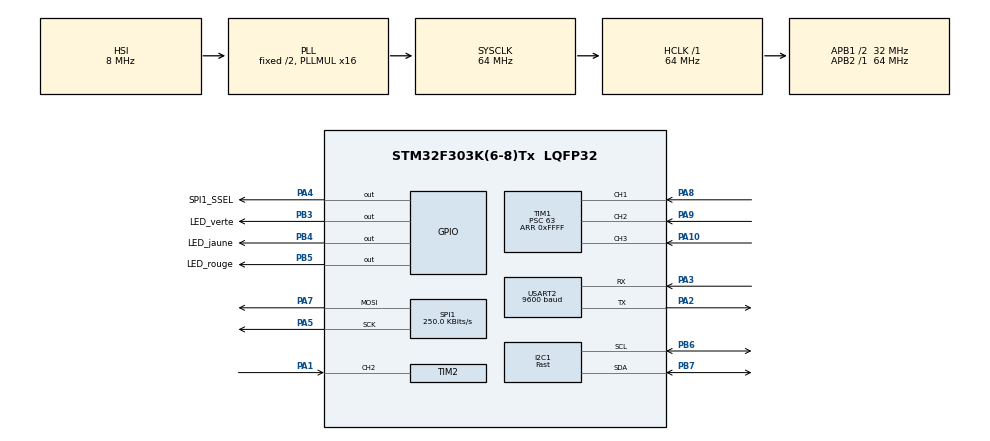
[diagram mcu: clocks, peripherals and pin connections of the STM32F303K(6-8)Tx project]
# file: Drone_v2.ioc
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I2C1.I2C_Speed_Mode=I2C_Fast
I2C1.Timing=0x0000020B
Mcu.Family=STM32F3
Mcu.Name=STM32F303K(6-8)Tx
Mcu.Package=LQFP32
NVIC.I2C1_ER_IRQn=true\:3\:0\:true\:false\:true\:true\:true
NVIC.I2C1_EV_IRQn=true\:2\:0\:true\:false\:true\:true\:true
NVIC.PriorityGroup=NVIC_PRIORITYGROUP_4
NVIC.TIM1_CC_IRQn=true\:0\:0\:false\:false\:true\:true\:true
NVIC.TIM2_IRQn=true\:1\:0\:true\:false\:true\:true\:true
NVIC.USART2_IRQn=true\:0\:0\:false\:false\:true\:true\:true
PA1.Signal=S_TIM2_CH2
PA10.Signal=S_TIM1_CH3
PA2.Mode=Asynchronous
PA2.Signal=USART2_TX
PA3.Mode=Asynchronous
PA3.Signal=USART2_RX
PA4.GPIO_Label=SPI1_SSEL
PA4.Signal=GPIO_Output
PA5.Mode=TX_Only_Simplex_Unidirect_Master
PA5.Signal=SPI1_SCK
PA7.Mode=TX_Only_Simplex_Unidirect_Master
PA7.Signal=SPI1_MOSI
PA8.Signal=S_TIM1_CH1
PA9.Signal=S_TIM1_CH2
PB3.GPIO_Label=LED_verte
PB3.Signal=GPIO_Output
PB4.GPIO_Label=LED_jaune
PB4.Signal=GPIO_Output
PB5.GPIO_Label=LED_rouge
PB5.Signal=GPIO_Output
PB6.GPIO_FM6=__NULL
PB6.Mode=I2C
PB6.Signal=I2C1_SCL
PB7.GPIO_FM7=__NULL
PB7.Mode=I2C
PB7.Signal=I2C1_SDA
ProjectManager.HeapSize=0x200
ProjectManager.StackSize=0x400
ProjectManager.TargetToolchain=MDK-ARM V5
RCC.AHBFreq_Value=64000000
RCC.APB1CLKDivider=RCC_HCLK_DIV2
RCC.APB1Freq_Value=32000000
RCC.APB1TimFreq_Value=64000000
RCC.APB2Freq_Value=64000000
RCC.APB2TimFreq_Value=64000000
RCC.CortexFreq_Value=64000000
RCC.HCLKFreq_Value=64000000
RCC.HSE_VALUE=8000000
RCC.HSI_VALUE=8000000
RCC.PLLMUL=RCC_PLL_MUL16
RCC.SYSCLKFreq_VALUE=64000000
RCC.SYSCLKSourceVirtual=RCC_SYSCLKSOURCE_PLLCLK
SH.S_TIM1_CH1.0=TIM1_CH1,Input_Capture1_from_TI1
SH.S_TIM1_CH2.0=TIM1_CH2,Input_Capture2_from_TI2
SH.S_TIM1_CH3.0=TIM1_CH3,Input_Capture3_from_TI3
SH.S_TIM2_CH2.0=TIM2_CH2,Input_Capture2_from_TI2
SPI1.BaudRatePrescaler=SPI_BAUDRATEPRESCALER_256
SPI1.CLKPhase=SPI_PHASE_2EDGE
SPI1.CalculateBaudRate=250.0 KBits/s
SPI1.DataSize=SPI_DATASIZE_8BIT
SPI1.Direction=SPI_DIRECTION_2LINES
SPI1.Mode=SPI_MODE_MASTER
SPI1.VirtualType=VM_MASTER
TIM1.Channel-Input_Capture1_from_TI1=TIM_CHANNEL_1
TIM1.Channel-Input_Capture2_from_TI2=TIM_CHANNEL_2
TIM1.Channel-Input_Capture3_from_TI3=TIM_CHANNEL_3
TIM1.ICPolarity_CH1=TIM_INPUTCHANNELPOLARITY_BOTHEDGE
TIM1.ICPolarity_CH2=TIM_INPUTCHANNELPOLARITY_BOTHEDGE
TIM1.ICPolarity_CH3=TIM_INPUTCHANNELPOLARITY_BOTHEDGE
TIM1.Period=0xFFFF
TIM1.Prescaler=63
TIM2.Channel-Input_Capture2_from_TI2=TIM_CHANNEL_2
TIM2.ICPolarity_CH2=TIM_INPUTCHANNELPOLARITY_BOTHEDGE
TIM2.Period=0xFFFF
TIM2.Prescaler=63
USART2.BaudRate=9600
USART2.VirtualMode-Asynchronous=VM_ASYNC
board=NUCLEO-F303K8

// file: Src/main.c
/* USER CODE BEGIN Header */
/**
  ******************************************************************************
  * @file           : main.c
  * @brief          : Main program body
  ******************************************************************************
  * @attention
  *
  * <h2><center>&copy; Copyright (c) 2020 STMicroelectronics.
  * All rights reserved.</center></h2>
  *
  * This software component is licensed by ST under BSD 3-Clause license,
  * the "License"; You may not use this file except in compliance with the
  * License. You may obtain a copy of the License at:
  *                        opensource.org/licenses/BSD-3-Clause
  *
  ******************************************************************************
  */
/* USER CODE END Header */

#include "main.h"

/* USER CODE BEGIN Includes */
#include "mpu6050.h"
#include "motor_control.h"
#include "pid_controller.h"

/* USER CODE END Includes */

I2C_HandleTypeDef hi2c1;

SPI_HandleTypeDef hspi1;

TIM_HandleTypeDef htim1;
TIM_HandleTypeDef htim2;

UART_HandleTypeDef huart2;

/* USER CODE BEGIN PV */
int _status = 2; //Par défaut : FlySky télécommande non détectée
TM_MPU6050_t MPU6050;
struct Input_captures{
	int32_t capt1[6];
	int32_t capt2[6];
	int is_First_Captured[6];
}values;

struct Remote{
	int32_t roll;
	int32_t pitch;
	int32_t throttle;
	int32_t yaw;
}cmd;

/* USER CODE END PV */

void SystemClock_Config(void);
static void MX_GPIO_Init(void);
static void MX_I2C1_Init(void);
static void MX_SPI1_Init(void);
static void MX_TIM1_Init(void);
static void MX_TIM2_Init(void);
static void MX_USART2_UART_Init(void);
/* USER CODE BEGIN PFP */
#ifdef __GNUC__
	#define PUTCHAR_PROTOTYPE int __io_putchar(int ch)
#else
	#define PUTCHAR_PROTOTYPE int fputc(int ch,FILE *f)
#endif

/* USER CODE END PFP */
PUTCHAR_PROTOTYPE{

	HAL_UART_Transmit(&huart2,(uint8_t *) &ch,1,0xFFFF);

	return ch;

}
/* USER CODE BEGIN 0 */

void HAL_TIM_IC_CaptureCallback(TIM_HandleTypeDef *htim){

	if(htim->Instance == TIM1){
		if(htim->Channel == HAL_TIM_ACTIVE_CHANNEL_1){
			if (values.is_First_Captured[0] == 0){
				values.capt1[0] = HAL_TIM_ReadCapturedValue(htim, TIM_CHANNEL_1);
				values.is_First_Captured[0] = 1;
			}
			else if (values.is_First_Captured[0]){
				values.capt2[0] = HAL_TIM_ReadCapturedValue(htim, TIM_CHANNEL_1);
				cmd.throttle = values.capt2[0] - values.capt1[0];

				if (cmd.throttle < 0){
					cmd.throttle += 0xFFFF;
				}
				values.is_First_Captured[0] = 0;
			}
		}
		else if(htim->Channel == HAL_TIM_ACTIVE_CHANNEL_2){
			if (values.is_First_Captured[1] == 0){
				values.capt1[1] = HAL_TIM_ReadCapturedValue(htim, TIM_CHANNEL_2);
				values.is_First_Captured[1] = 1;
			}
			else if (values.is_First_Captured[1]){
				values.capt2[1] = HAL_TIM_ReadCapturedValue(htim, TIM_CHANNEL_2);
				cmd.roll = values.capt2[1] - values.capt1[1];

				if (cmd.roll < 0){
					cmd.roll += 0xFFFF;
				}
				values.is_First_Captured[1] = 0;
			}
		}
		else if(htim->Channel == HAL_TIM_ACTIVE_CHANNEL_3){
			if (values.is_First_Captured[2] == 0){
				values.capt1[2] = HAL_TIM_ReadCapturedValue(htim, TIM_CHANNEL_3);
				values.is_First_Captured[2] = 1;
			}
			else if (values.is_First_Captured[2]){
				values.capt2[2] = HAL_TIM_ReadCapturedValue(htim, TIM_CHANNEL_3);
				cmd.pitch = values.capt2[2] - values.capt1[2];

				if (cmd.pitch < 0){
					cmd.pitch += 0xFFFF;
				}
				values.is_First_Captured[2] = 0;
			}
		}
	}
	else if(htim->Instance == TIM2){
		if(htim->Channel == HAL_TIM_ACTIVE_CHANNEL_2){
			if (values.is_First_Captured[3] == 0){
				values.capt1[3] = HAL_TIM_ReadCapturedValue(htim, TIM_CHANNEL_2);
				values.is_First_Captured[3] = 1;
			}
			else if (values.is_First_Captured[3]){
				values.capt2[3] = HAL_TIM_ReadCapturedValue(htim, TIM_CHANNEL_2);
				cmd.yaw = values.capt2[3] - values.capt1[3];

				if (cmd.yaw < 0){
					cmd.yaw += 0xFFFF;
				}
				values.is_First_Captured[3] = 0;
			}
		}
	}

}

void toggle_led(int id){

	switch (id){
		case 0://LED rouge
			HAL_GPIO_TogglePin(GPIOB, LED_rouge_Pin);

			HAL_GPIO_WritePin(GPIOB, LED_jaune_Pin, GPIO_PIN_RESET);
			HAL_GPIO_WritePin(GPIOB, LED_verte_Pin, GPIO_PIN_RESET);
			break;
  	case 1://LED jaune
			HAL_GPIO_WritePin(GPIOB, LED_jaune_Pin,GPIO_PIN_SET); //Initialisation du Drone

			HAL_GPIO_WritePin(GPIOB, LED_rouge_Pin, GPIO_PIN_RESET);
			HAL_GPIO_WritePin(GPIOB, LED_verte_Pin, GPIO_PIN_RESET);
			break;
		case 2://LED verte
			HAL_GPIO_WritePin(GPIOB, LED_verte_Pin, GPIO_PIN_SET); //Prêt au décolage

			HAL_GPIO_WritePin(GPIOB, LED_jaune_Pin, GPIO_PIN_RESET);
			HAL_GPIO_WritePin(GPIOB, LED_rouge_Pin, GPIO_PIN_RESET);
			break;
		default:
			break;
	}

}

/* USER CODE END 0 */

int main(void)
{

  /* MCU Configuration--------------------------------------------------------*/

  /* Reset of all peripherals, Initializes the Flash interface and the Systick. */
  HAL_Init();

  /* Configure the system clock */
  SystemClock_Config();

  /* Initialize all configured peripherals */
  MX_GPIO_Init();
  MX_I2C1_Init();
  MX_SPI1_Init();
  MX_TIM1_Init();
  MX_TIM2_Init();
  MX_USART2_UART_Init();
  /* USER CODE BEGIN 2 */

	toggle_led(1); //Set Led jaune pendant l'initialisation

	//Setup the registers of the MPU-6050 (500dfs / +/-8g) and start the gyro
	if(MPU6050_Init(&MPU6050, TM_MPU6050_Device_0) != TM_MPU6050_Result_Ok){
		_status = 1; //MPU-6050 non détectée
		Error_Handler();
	}
	//Calibration of the MPU-6050
	if(MPU6050_Calibrate(&MPU6050, TM_MPU6050_Device_0) != TM_MPU6050_Result_Ok){
		_status = 1; //MPU-6050 non détectée
		Error_Handler();
	}

//	//Activate Remote control captures
//	HAL_TIM_IC_Start_IT(&htim1,TIM_CHANNEL_1); //PA8  --> CH3 receiver [throttle]
//	HAL_TIM_IC_Start_IT(&htim1,TIM_CHANNEL_2); //PA9  --> CH1 receiver [roll]
//	HAL_TIM_IC_Start_IT(&htim1,TIM_CHANNEL_3); //PA10 --> CH2 receiver [pitch]
//	HAL_TIM_IC_Start_IT(&htim2,TIM_CHANNEL_2); //PA1  --> CH4 receiver [yaw]
//
//	HAL_Delay(2000); //Wait until the receiver is active

//  if(cmd.pitch < 990 || cmd.roll < 990 || cmd.throttle < 990 || cmd.yaw < 990)  {
//		_status = 2; //FlySky télécommande non détectée
//		Error_Handler();
//  }
//  if(cmd.pitch > 1990 || cmd.roll > 1990 || cmd.throttle > 1990 || cmd.yaw > 1990)  {
//		_status = 2; //FlySky télécommande non détectée
//		Error_Handler();
//  }
//
//	//Wait until the throttle is set to the lower position.
//	if(cmd.throttle < 990 || cmd.throttle > 1050)  {
//		_status = 3; //Throttle n'est pas dans la position la plus basse
//		Error_Handler();
//	}

	//Initialize SPI communication
	HAL_GPIO_WritePin(SPI1_SSEL_GPIO_Port, SPI1_SSEL_Pin, GPIO_PIN_SET);

	_status = 0; //L'initialisation des périphériques a été excécutée

	toggle_led(2); //Set Led verte à la fin de l'initialisation

  /* USER CODE END 2 */

  /* Infinite loop */
  /* USER CODE BEGIN WHILE */
  while (1)
  {
		//Read and Convert all the data from the MPU6050
		if(MPU6050_ReadConvert_Pitch_Roll(&MPU6050, TM_MPU6050_Device_0) != TM_MPU6050_Result_Ok){
			_status = 1; //MPU-6050 non détectée
			run_moteurs(5); //Stop ALL motors
			Error_Handler();
		}

// Commandes moteurs en Boucle ouverte
//		check_motor_vibrations(4);

// Commandes moteurs en Boucle fermée (PID)
//		init_pid();
//		calculate_pid();//PID inputs are known. So we can calculate the pid output.
//		cmd_motors();

    /* USER CODE END WHILE */

  }
}

void SystemClock_Config(void)
{
  RCC_OscInitTypeDef RCC_OscInitStruct = {0};
  RCC_ClkInitTypeDef RCC_ClkInitStruct = {0};
  RCC_PeriphCLKInitTypeDef PeriphClkInit = {0};

  /** Initializes the CPU, AHB and APB busses clocks
  */
  RCC_OscInitStruct.OscillatorType = RCC_OSCILLATORTYPE_HSI;
  RCC_OscInitStruct.HSIState = RCC_HSI_ON;
  RCC_OscInitStruct.HSICalibrationValue = RCC_HSICALIBRATION_DEFAULT;
  RCC_OscInitStruct.PLL.PLLState = RCC_PLL_ON;
  RCC_OscInitStruct.PLL.PLLSource = RCC_PLLSOURCE_HSI;
  RCC_OscInitStruct.PLL.PLLMUL = RCC_PLL_MUL16;
  if (HAL_RCC_OscConfig(&RCC_OscInitStruct) != HAL_OK)
  {
    Error_Handler();
  }
  /** Initializes the CPU, AHB and APB busses clocks
  */
  RCC_ClkInitStruct.ClockType = RCC_CLOCKTYPE_HCLK|RCC_CLOCKTYPE_SYSCLK
                              |RCC_CLOCKTYPE_PCLK1|RCC_CLOCKTYPE_PCLK2;
  RCC_ClkInitStruct.SYSCLKSource = RCC_SYSCLKSOURCE_PLLCLK;
  RCC_ClkInitStruct.AHBCLKDivider = RCC_SYSCLK_DIV1;
  RCC_ClkInitStruct.APB1CLKDivider = RCC_HCLK_DIV2;
  RCC_ClkInitStruct.APB2CLKDivider = RCC_HCLK_DIV1;

  if (HAL_RCC_ClockConfig(&RCC_ClkInitStruct, FLASH_LATENCY_2) != HAL_OK)
  {
    Error_Handler();
  }
  PeriphClkInit.PeriphClockSelection = RCC_PERIPHCLK_I2C1|RCC_PERIPHCLK_TIM1;
  PeriphClkInit.I2c1ClockSelection = RCC_I2C1CLKSOURCE_HSI;
  PeriphClkInit.Tim1ClockSelection = RCC_TIM1CLK_HCLK;
  if (HAL_RCCEx_PeriphCLKConfig(&PeriphClkInit) != HAL_OK)
  {
    Error_Handler();
  }
}

static void MX_I2C1_Init(void)
{

  hi2c1.Instance = I2C1;
  hi2c1.Init.Timing = 0x0000020B;
  hi2c1.Init.OwnAddress1 = 0;
  hi2c1.Init.AddressingMode = I2C_ADDRESSINGMODE_7BIT;
  hi2c1.Init.DualAddressMode = I2C_DUALADDRESS_DISABLE;
  hi2c1.Init.OwnAddress2 = 0;
  hi2c1.Init.OwnAddress2Masks = I2C_OA2_NOMASK;
  hi2c1.Init.GeneralCallMode = I2C_GENERALCALL_DISABLE;
  hi2c1.Init.NoStretchMode = I2C_NOSTRETCH_DISABLE;
  if (HAL_I2C_Init(&hi2c1) != HAL_OK)
  {
    Error_Handler();
  }
  /** Configure Analogue filter
  */
  if (HAL_I2CEx_ConfigAnalogFilter(&hi2c1, I2C_ANALOGFILTER_ENABLE) != HAL_OK)
  {
    Error_Handler();
  }
  /** Configure Digital filter
  */
  if (HAL_I2CEx_ConfigDigitalFilter(&hi2c1, 0) != HAL_OK)
  {
    Error_Handler();
  }

}

static void MX_SPI1_Init(void)
{

  /* SPI1 parameter configuration*/
  hspi1.Instance = SPI1;
  hspi1.Init.Mode = SPI_MODE_MASTER;
  hspi1.Init.Direction = SPI_DIRECTION_2LINES;
  hspi1.Init.DataSize = SPI_DATASIZE_8BIT;
  hspi1.Init.CLKPolarity = SPI_POLARITY_LOW;
  hspi1.Init.CLKPhase = SPI_PHASE_2EDGE;
  hspi1.Init.NSS = SPI_NSS_SOFT;
  hspi1.Init.BaudRatePrescaler = SPI_BAUDRATEPRESCALER_256;
  hspi1.Init.FirstBit = SPI_FIRSTBIT_MSB;
  hspi1.Init.TIMode = SPI_TIMODE_DISABLE;
  hspi1.Init.CRCCalculation = SPI_CRCCALCULATION_DISABLE;
  hspi1.Init.CRCPolynomial = 7;
  hspi1.Init.CRCLength = SPI_CRC_LENGTH_DATASIZE;
  hspi1.Init.NSSPMode = SPI_NSS_PULSE_DISABLE;
  if (HAL_SPI_Init(&hspi1) != HAL_OK)
  {
    Error_Handler();
  }

}

static void MX_TIM1_Init(void)
{

  TIM_MasterConfigTypeDef sMasterConfig = {0};
  TIM_IC_InitTypeDef sConfigIC = {0};

  htim1.Instance = TIM1;
  htim1.Init.Prescaler = 63;
  htim1.Init.CounterMode = TIM_COUNTERMODE_UP;
  htim1.Init.Period = 0xFFFF;
  htim1.Init.ClockDivision = TIM_CLOCKDIVISION_DIV1;
  htim1.Init.RepetitionCounter = 0;
  htim1.Init.AutoReloadPreload = TIM_AUTORELOAD_PRELOAD_DISABLE;
  if (HAL_TIM_IC_Init(&htim1) != HAL_OK)
  {
    Error_Handler();
  }
  sMasterConfig.MasterOutputTrigger = TIM_TRGO_RESET;
  sMasterConfig.MasterOutputTrigger2 = TIM_TRGO2_RESET;
  sMasterConfig.MasterSlaveMode = TIM_MASTERSLAVEMODE_DISABLE;
  if (HAL_TIMEx_MasterConfigSynchronization(&htim1, &sMasterConfig) != HAL_OK)
  {
    Error_Handler();
  }
  sConfigIC.ICPolarity = TIM_INPUTCHANNELPOLARITY_BOTHEDGE;
  sConfigIC.ICSelection = TIM_ICSELECTION_DIRECTTI;
  sConfigIC.ICPrescaler = TIM_ICPSC_DIV1;
  sConfigIC.ICFilter = 0;
  if (HAL_TIM_IC_ConfigChannel(&htim1, &sConfigIC, TIM_CHANNEL_1) != HAL_OK)
  {
    Error_Handler();
  }
  if (HAL_TIM_IC_ConfigChannel(&htim1, &sConfigIC, TIM_CHANNEL_2) != HAL_OK)
  {
    Error_Handler();
  }
  if (HAL_TIM_IC_ConfigChannel(&htim1, &sConfigIC, TIM_CHANNEL_3) != HAL_OK)
  {
    Error_Handler();
  }

}

static void MX_TIM2_Init(void)
{

  TIM_MasterConfigTypeDef sMasterConfig = {0};
  TIM_IC_InitTypeDef sConfigIC = {0};

  htim2.Instance = TIM2;
  htim2.Init.Prescaler = 63;
  htim2.Init.CounterMode = TIM_COUNTERMODE_UP;
  htim2.Init.Period = 0xFFFF;
  htim2.Init.ClockDivision = TIM_CLOCKDIVISION_DIV1;
  htim2.Init.AutoReloadPreload = TIM_AUTORELOAD_PRELOAD_DISABLE;
  if (HAL_TIM_IC_Init(&htim2) != HAL_OK)
  {
    Error_Handler();
  }
  sMasterConfig.MasterOutputTrigger = TIM_TRGO_RESET;
  sMasterConfig.MasterSlaveMode = TIM_MASTERSLAVEMODE_DISABLE;
  if (HAL_TIMEx_MasterConfigSynchronization(&htim2, &sMasterConfig) != HAL_OK)
  {
    Error_Handler();
  }
  sConfigIC.ICPolarity = TIM_INPUTCHANNELPOLARITY_BOTHEDGE;
  sConfigIC.ICSelection = TIM_ICSELECTION_DIRECTTI;
  sConfigIC.ICPrescaler = TIM_ICPSC_DIV1;
  sConfigIC.ICFilter = 0;
  if (HAL_TIM_IC_ConfigChannel(&htim2, &sConfigIC, TIM_CHANNEL_2) != HAL_OK)
  {
    Error_Handler();
  }

}

static void MX_USART2_UART_Init(void)
{

  huart2.Instance = USART2;
  huart2.Init.BaudRate = 9600;
  huart2.Init.WordLength = UART_WORDLENGTH_8B;
  huart2.Init.StopBits = UART_STOPBITS_1;
  huart2.Init.Parity = UART_PARITY_NONE;
  huart2.Init.Mode = UART_MODE_TX_RX;
  huart2.Init.HwFlowCtl = UART_HWCONTROL_NONE;
  huart2.Init.OverSampling = UART_OVERSAMPLING_16;
  huart2.Init.OneBitSampling = UART_ONE_BIT_SAMPLE_DISABLE;
  huart2.AdvancedInit.AdvFeatureInit = UART_ADVFEATURE_NO_INIT;
  if (HAL_UART_Init(&huart2) != HAL_OK)
  {
    Error_Handler();
  }

}

static void MX_GPIO_Init(void)
{
  GPIO_InitTypeDef GPIO_InitStruct = {0};

  /* GPIO Ports Clock Enable */
  __HAL_RCC_GPIOA_CLK_ENABLE();
  __HAL_RCC_GPIOB_CLK_ENABLE();

  /*Configure GPIO pin Output Level */
  HAL_GPIO_WritePin(SPI1_SSEL_GPIO_Port, SPI1_SSEL_Pin, GPIO_PIN_RESET);

  /*Configure GPIO pin Output Level */
  HAL_GPIO_WritePin(GPIOB, LED_verte_Pin|LED_jaune_Pin|LED_rouge_Pin, GPIO_PIN_RESET);

  /*Configure GPIO pin : SPI1_SSEL_Pin */
  GPIO_InitStruct.Pin = SPI1_SSEL_Pin;
  GPIO_InitStruct.Mode = GPIO_MODE_OUTPUT_PP;
  GPIO_InitStruct.Pull = GPIO_NOPULL;
  GPIO_InitStruct.Speed = GPIO_SPEED_FREQ_LOW;
  HAL_GPIO_Init(SPI1_SSEL_GPIO_Port, &GPIO_InitStruct);

  /*Configure GPIO pins : LED_verte_Pin LED_jaune_Pin LED_rouge_Pin */
  GPIO_InitStruct.Pin = LED_verte_Pin|LED_jaune_Pin|LED_rouge_Pin;
  GPIO_InitStruct.Mode = GPIO_MODE_OUTPUT_PP;
  GPIO_InitStruct.Pull = GPIO_NOPULL;
  GPIO_InitStruct.Speed = GPIO_SPEED_FREQ_LOW;
  HAL_GPIO_Init(GPIOB, &GPIO_InitStruct);

}

void Error_Handler(void)
{
  /* USER CODE BEGIN Error_Handler_Debug */
  /* User can add his own implementation to report the HAL error return state */
	while(1){
/* Voici les cas d'erreurs pour la LED rouge
*	Valeur de la variable "_status"
* 	0 : pas d'erreurs détectée
* 	1 : MPU-6050 non détecté
*		2 : FlySky télécommande non détectée
*		3 : Throttle n'est pas dans la position la plus basse
*		4 : FPGA non détecté
*/
		toggle_led(0);
		HAL_Delay(_status*250);

	}

  /* USER CODE END Error_Handler_Debug */
}

/************************ (C) COPYRIGHT STMicroelectronics *****END OF FILE****/
